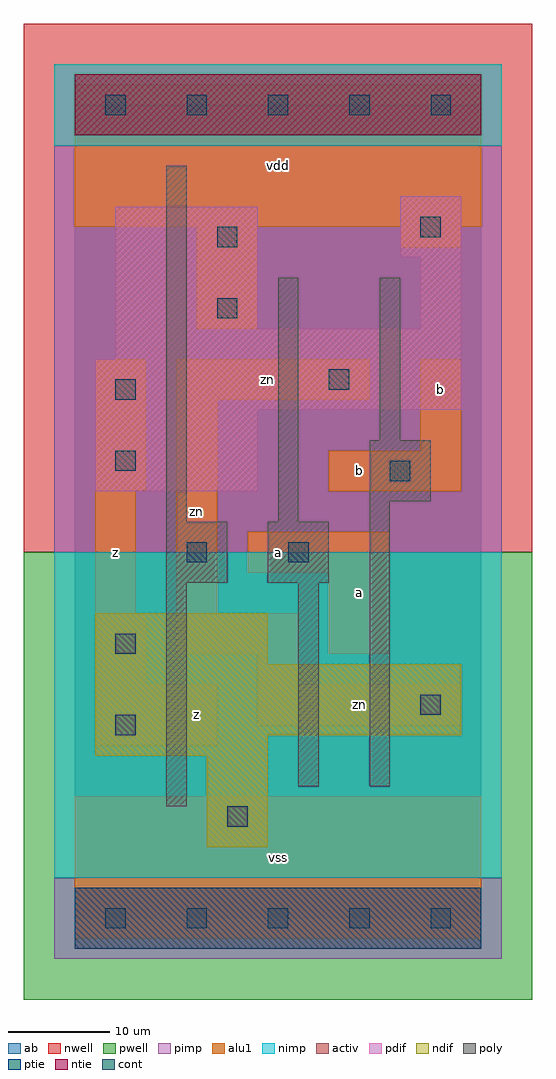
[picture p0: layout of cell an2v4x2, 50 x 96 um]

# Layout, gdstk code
import gdstk
lib = gdstk.Library(unit=1e-6, precision=1e-09)
def R(c, l, rs):  # rectangles x0, y0, x1, y1
    for r in rs: c.add(gdstk.rectangle(r[:2], r[2:], *l))
def A(c, l, x, y, w, h, nx, ny, dx, dy):  # array of equal rectangles
    R(c, l, [(x+i*dx, y+j*dy, x+i*dx+w, y+j*dy+h) for i in range(nx) for j in range(ny)])
ndif = (3, 0)
pdif = (4, 0)
ntie = (5, 0)
ptie = (6, 0)
cont = (25, 0)
pwell = (41, 0)
nwell = (42, 0)
activ = (43, 0)
pimp = (44, 0)
nimp = (45, 0)
poly = (46, 0)
alu1 = (49, 0)
ab = (63, 0)

an2v4x2 = lib.new_cell('an2v4x2')
R(an2v4x2, ndif, [(13,7,19,16), (2,16,19,18), (2,18,38,25), (2,25,19,30)])
R(an2v4x2, pdif, [(2,42,18,50), (2,50,38,55), (4,55,38,58), (4,58,18,70), (34,58,38,65), (32,65,38,71)])
R(an2v4x2, ntie, [(0,77,40,83)])
R(an2v4x2, ptie, [(0,-3,40,3)])
A(an2v4x2, cont, 3, -1, 2, 2, 5, 2, 8, 80)
R(an2v4x2, cont, [(15,9,17,11), (4,18,6,20), (34,20,36,22), (4,26,6,28), (11,35,13,37), (21,35,23,37), (31,43,33,45), (4,44,6,46), (4,51,6,53), (25,52,27,54), (14,59,16,61), (14,66,16,68), (34,67,36,69)])
R(an2v4x2, pwell, [(-5,-8,45,36)])
R(an2v4x2, nwell, [(-5,36,45,88)])
R(an2v4x2, activ, [(0,-3,40,3), (13,7,19,16), (2,16,19,18), (2,18,38,25), (2,25,19,30), (2,42,18,50), (2,50,38,55), (4,55,38,58), (4,58,18,70), (34,58,38,65), (32,65,38,71), (0,77,40,83)])
R(an2v4x2, pimp, [(-2,-4,42,4), (-2,36,42,76)])
R(an2v4x2, nimp, [(-2,4,42,36), (-2,76,42,84)])
R(an2v4x2, poly, [(9,11,11,33), (22,13,24,33), (29,13,31,41), (9,33,15,39), (19,33,25,39), (9,39,11,74), (20,39,22,63), (29,41,35,47), (30,47,32,63)])
R(an2v4x2, alu1, [(0,-2,40,12), (2,17,14,23), (18,19,38,23), (2,23,7,30), (18,23,22,26), (10,26,22,30), (25,26,31,34), (2,30,6,42), (10,30,14,51), (17,34,31,38), (2,42,7,55), (25,42,38,46), (34,46,38,55), (10,51,29,55), (12,58,18,68), (32,66,38,68), (0,68,40,82)])
R(an2v4x2, ab, [(0,0,40,80)])
an2v4x2.add(gdstk.Label('zn', (12,40), layer=49, texttype=0))
an2v4x2.add(gdstk.Label('zn', (19,53), layer=49, texttype=0))
an2v4x2.add(gdstk.Label('zn', (28,21), layer=49, texttype=0))
an2v4x2.add(gdstk.Label('z', (4,36), layer=49, texttype=0))
an2v4x2.add(gdstk.Label('z', (12,20), layer=49, texttype=0))
an2v4x2.add(gdstk.Label('vss', (20,6), layer=49, texttype=0))
an2v4x2.add(gdstk.Label('a', (20,36), layer=49, texttype=0))
an2v4x2.add(gdstk.Label('a', (28,32), layer=49, texttype=0))
an2v4x2.add(gdstk.Label('b', (28,44), layer=49, texttype=0))
an2v4x2.add(gdstk.Label('vdd', (20,74), layer=49, texttype=0))
an2v4x2.add(gdstk.Label('b', (36,52), layer=49, texttype=0))

lib.write_gds('an2v4x2.gds')
